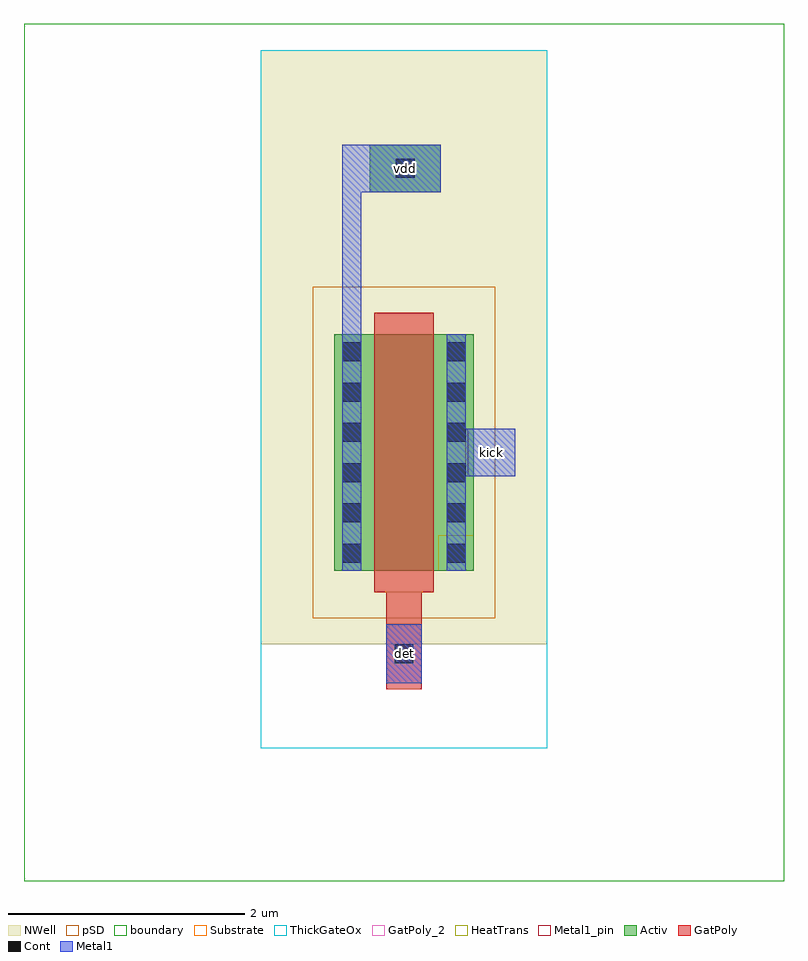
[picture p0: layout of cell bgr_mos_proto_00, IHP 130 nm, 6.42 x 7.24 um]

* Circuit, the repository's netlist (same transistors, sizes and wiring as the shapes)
.subckt bgr_mos_proto_00 kick det vdd
MUNIT kick det vdd vdd sg13_hv_pmos l=0.5u w=2u as=0.68p ad=0.68p ps=4.68u pd=4.68u rfmode=0
.ends bgr_mos_proto_00

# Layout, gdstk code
import gdstk
lib = gdstk.Library(unit=1e-6, precision=1e-09)
def R(c, l, rs):  # rectangles x0, y0, x1, y1
    for r in rs: c.add(gdstk.rectangle(r[:2], r[2:], *l))
def A(c, l, x, y, w, h, nx, ny, dx, dy):  # array of equal rectangles
    R(c, l, [(x+i*dx, y+j*dy, x+i*dx+w, y+j*dy+h) for i in range(nx) for j in range(ny)])
Activ = (1, 0)
GatPoly = (5, 0)
GatPoly_2 = (5, 2)
Cont = (6, 0)
Metal1 = (8, 0)
Metal1_pin = (8, 2)
pSD = (14, 0)
NWell = (31, 0)
Substrate = (40, 0)
ThickGateOx = (44, 0)
HeatTrans = (51, 0)
boundary = (189, 4)

pmoshv = lib.new_cell('pmosHV')
R(pmoshv, Activ, [(0,0,0.3,0.3), (0,0,1.18,2), (0.88,0,1.18,0.3)])
R(pmoshv, GatPoly, [(0.34,-0.18,0.84,2.18)])
R(pmoshv, GatPoly_2, [(0.34,-0.18,0.84,2.18)])
A(pmoshv, Cont, 0.07, 0.07, 0.16, 0.16, 1, 6, 0, 0.34)
A(pmoshv, Cont, 0.95, 0.07, 0.16, 0.16, 1, 6, 0, 0.34)
R(pmoshv, Metal1, [(0.07,0,0.23,2), (0.95,0,1.11,2)])
R(pmoshv, Metal1_pin, [(0.07,0,0.23,2), (0.95,0,1.11,2)])
R(pmoshv, pSD, [(-0.18,-0.4,1.36,2.4)])
R(pmoshv, NWell, [(-0.62,-0.62,1.8,2.62)])
R(pmoshv, Substrate, [(0.88,0,1.18,0.3)])
R(pmoshv, ThickGateOx, [(-0.62,-0.62,1.8,2.62)])
R(pmoshv, HeatTrans, [(0.34,-0.18,0.84,2.18)])
pmoshv.add(gdstk.Label('pmosHV', (0.59,1), layer=63, texttype=0))
pmoshv.add(gdstk.Label('pmos', (0.59,1), layer=51, texttype=0))

bgr_mos_proto_00 = lib.new_cell('bgr_mos_proto_00')
R(bgr_mos_proto_00, Activ, [(10.3,13.2,10.9,13.6)])
R(bgr_mos_proto_00, GatPoly, [(10.44,9,10.74,9.82)])
R(bgr_mos_proto_00, Cont, [(10.51,9.22,10.67,9.38), (10.52,13.32,10.68,13.48)])
R(bgr_mos_proto_00, Metal1, [(10.44,9.05,10.74,9.55), (10.95,10.8,11.53,11.2), (10.07,11.9,10.23,13.6), (10.07,13.2,10.3,13.6), (10.3,13.2,10.9,13.6)])
R(bgr_mos_proto_00, Metal1_pin, [(10.44,9.05,10.74,9.55), (11.13,10.8,11.53,11.2), (10.3,13.2,10.9,13.6)])
R(bgr_mos_proto_00, NWell, [(9.38,9.38,11.8,14.4)])
R(bgr_mos_proto_00, ThickGateOx, [(9.38,8.5,11.8,14.4)])
R(bgr_mos_proto_00, boundary, [(7.38,7.38,13.8,14.62)])
bgr_mos_proto_00.add(gdstk.Reference(pmoshv, (10,10)))
bgr_mos_proto_00.add(gdstk.Label('det', (10.59,9.3), layer=8, texttype=25))
bgr_mos_proto_00.add(gdstk.Label('kick', (11.33,11), layer=8, texttype=25))
bgr_mos_proto_00.add(gdstk.Label('vdd', (10.6,13.4), layer=8, texttype=25))

lib.write_gds('bgr_mos_proto_00.gds')
